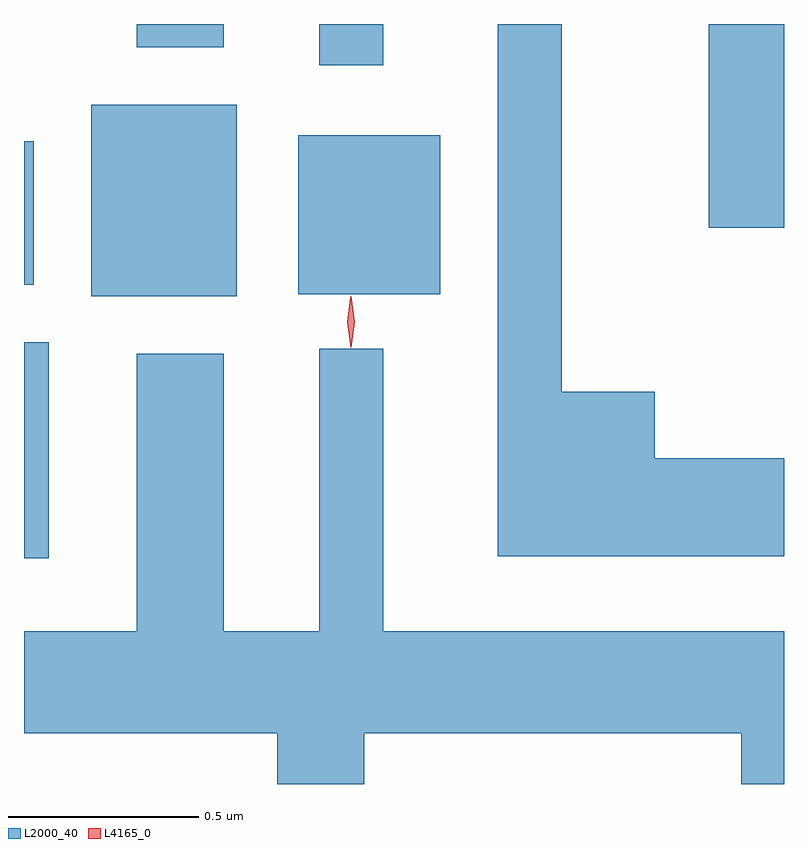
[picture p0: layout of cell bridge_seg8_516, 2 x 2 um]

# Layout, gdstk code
import gdstk
lib = gdstk.Library(unit=1e-6, precision=1e-09)
def R(c, l, rs):  # rectangles x0, y0, x1, y1
    for r in rs: c.add(gdstk.rectangle(r[:2], r[2:], *l))
def P(c, l, *ps):  # polygons
    for p in ps: c.add(gdstk.Polygon(p, *l))
L2000_40 = (2000, 40)
L4165_0 = (4165, 0)

bridge_seg8_516 = lib.new_cell('bridge_seg8_516')
R(bridge_seg8_516, L2000_40, [(211.984,1870.176,212.049,1870.744), (212.161,1870.866,212.544,1871.369), (212.706,1870.871,213.079,1871.289), (211.984,1870.896,212.009,1871.274), (213.786,1871.046,213.984,1871.582), (212.761,1871.473,212.929,1871.582), (212.281,1871.521,212.509,1871.582)])
P(bridge_seg8_516, L2000_40, [(213.984,1870.439),(213.644,1870.439),(213.644,1870.614),(213.399,1870.614),(213.399,1871.582),(213.231,1871.582),(213.231,1870.181),(213.984,1870.181)],
  [(212.879,1869.716),(213.871,1869.716),(213.871,1869.582),(213.984,1869.582),(213.984,1869.984),(212.929,1869.984),(212.929,1870.728),(212.761,1870.728),(212.761,1869.984),(212.509,1869.984),(212.509,1870.714),(212.281,1870.714),(212.281,1869.984),(211.984,1869.984),(211.984,1869.716),(212.651,1869.716),(212.651,1869.582),(212.879,1869.582)])
P(bridge_seg8_516, L4165_0, [(212.844,1870.733),(212.844,1870.733),(212.834,1870.797),(212.843,1870.861),(212.844,1870.862),(212.844,1870.861),(212.854,1870.798),(212.845,1870.733)],
  [(212.844,1870.73),(212.834,1870.798),(212.844,1870.866),(212.844,1870.866),(212.845,1870.866),(212.854,1870.798),(212.845,1870.73),(212.845,1870.73)])

lib.write_gds('bridge_seg8_516.gds')
